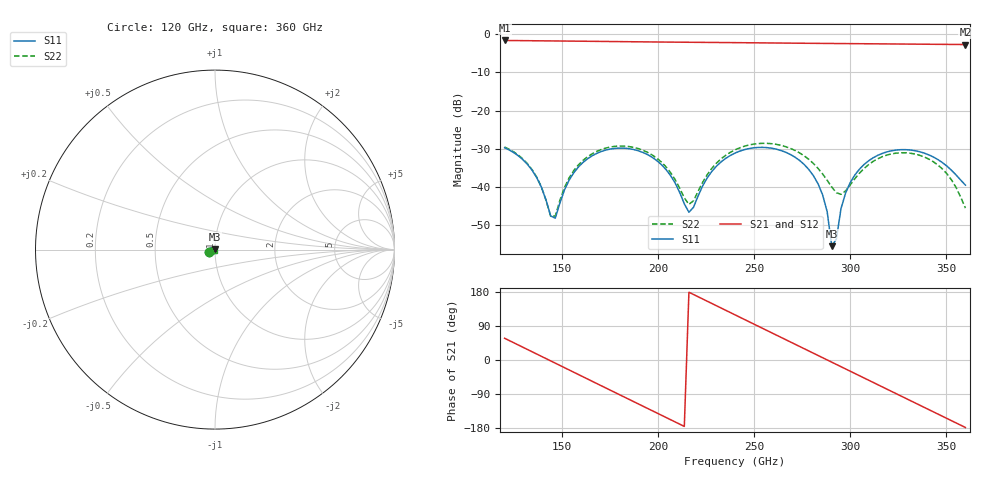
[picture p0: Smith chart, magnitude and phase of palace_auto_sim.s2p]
#  GHZ S DB R 50
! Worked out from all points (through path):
!   101 points, 120 GHz to 360 GHz, reference 50 ohm
!   highest |S21| = -1.64 dB at 120 GHz (marker M1); lowest = -2.7 dB at 360 GHz (marker M2)
!   group delay of S21, straight-line fit = 6.89 ps
!   lowest |S11| = -55.6 dB at 290.4 GHz (marker M3), VSWR 1.00, Z = 50 + j0.165 ohm
!   |S11| at or under -10 dB: start of sweep to end of sweep
!   |S22| runs from -47.7 to -28.6 dB; largest |S21 - S12| = 9.2e-14
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120  -29.76 -160.5  -1.64 57.4  -1.64 57.4  -29.57 -159.5
134.4  -35.70 168.6  -1.71 21.5  -1.71 21.5  -35.56 170.3
144  -47.64 -168.8  -1.76 -2.3  -1.76 -2.3  -47.72 -162.9
146.4  -48.21 -122.7  -1.77 -8.3  -1.77 -8.3  -47.64 -115.7
153.6  -38.25 -90.5  -1.81 -26.2  -1.81 -26.2  -37.65 -87.4
160.8  -33.62 -101.6  -1.84 -44.2  -1.84 -44.2  -33.08 -98.5
180  -29.85 -145.2  -1.94 -91.9  -1.94 -91.9  -29.31 -141.2
201.6  -34.15 167.5  -2.05 -145.5  -2.05 -145.5  -33.48 173.9
216  -46.66 -157.8  -2.11 178.8  -2.11 178.8  -44.59 -152.0
228  -35.92 -107.5  -2.16 149.0  -2.16 149.0  -35.11 -103.9
240  -31.16 -129.2  -2.21 119.2  -2.21 119.2  -30.31 -123.0
259.2  -29.89 -173.2  -2.30 71.5  -2.30 71.5  -28.70 -162.6
280.8  -37.05 133.1  -2.39 18.0  -2.39 18.0  -33.86 159.7
288  -46.50 108.4  -2.42 0.2  -2.42 0.2  -38.28 160.9
290.4  -55.55 80.4  -2.43 -5.7  -2.43 -5.7  -40.06 167.8
292.8  -53.66 -45.6  -2.44 -11.7  -2.44 -11.7  -41.53 -179.3
295.2  -45.74 -67.4  -2.45 -17.6  -2.45 -17.6  -41.96 -161.8
302.4  -36.92 -91.1  -2.48 -35.5  -2.48 -35.5  -37.89 -131.3
321.6  -30.54 -137.6  -2.56 -83.0  -2.56 -83.0  -31.36 -151.9
333.6  -30.52 -163.3  -2.61 -112.7  -2.61 -112.7  -31.40 -175.0
345.6  -32.83 175.7  -2.65 -142.4  -2.65 -142.4  -34.25 163.5
360  -39.54 -180.0  -2.71 -178.1  -2.71 -178.1  -45.58 177.0
